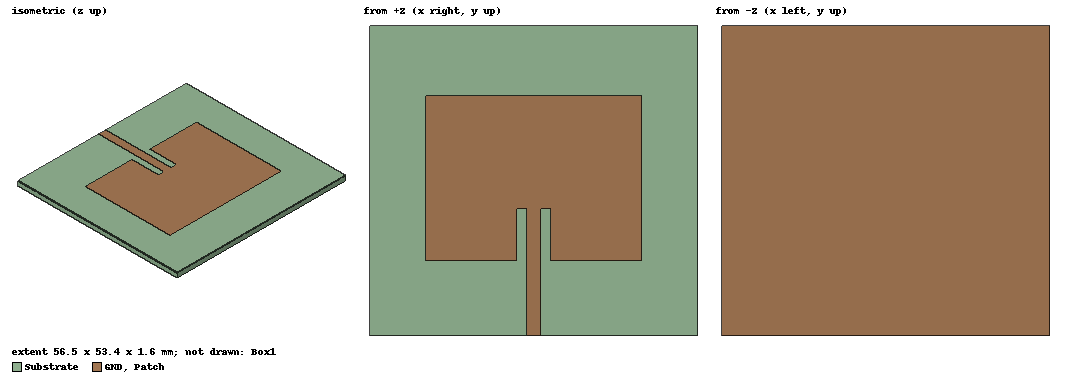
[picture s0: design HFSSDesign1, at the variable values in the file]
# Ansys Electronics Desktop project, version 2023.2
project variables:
  $f = 2.45GHz
  $epsilon_r = 4.4
  $h = 1.6mm
  $Wp = 37.3mm
  $Lp = 28.4mm
  $Wg = $Wp + 12*$h
  $Lg = $Lp + $Lf + $z
  $Wf = 2.4mm
  $g = 1.8mm
  $d = 8.9mm
  $Lf = 13mm
  $z = 12mm
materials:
  vacuum: permittivity=1
  Rogers RO3003 (tm): permittivity=3 dielectric_loss_tangent=0.0013
  Rogers RT/duroid 5880 (tm): permittivity=2.2 dielectric_loss_tangent=0.0009
  air: permittivity=1.0006 permeability=1.0000004
  FR4_epoxy: permittivity=4.4 dielectric_loss_tangent=0.02

design HFSSDesign1 (HFSS, HFSS Terminal Network, model units mm)
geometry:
  GND = rectangle(corner=(-$Wg/2, -$Lg/2, 0mm), x_size=$Wg, y_size=$Lg)
  Substrate [FR4_epoxy] = box(corner=(-$Wg/2, -$Lg/2, 0mm), size=($Wg, $Lg, $h))
  Patch = rectangle(corner=(-$Wp/2, -$Lg/2 +$Lf, $h), x_size=$Wp, y_size=$Lp)
  Left_notch = rectangle(corner=(-$g-$Wf/2, -$Lg/2 + $Lf, $h), x_size=$g, y_size=$d)
  Right_notch = rectangle(corner=($Wf/2, -$Lg/2+$Lf, $h), x_size=$g, y_size=$d)
  Feed = rectangle(corner=(-$Wf/2, -$Lg/2, $h), x_size=$Wf, y_size=$d + $Lf)
  Patch.subtract(Left_notch)
  Patch.subtract(Right_notch)
  Port = rectangle(corner=(-$Wf/2, -$Lg/2, 0mm), z_size=$h, x_size=$Wf)
  Patch.unite(Feed)
  Box1 [air] = box(corner=(-150mm, -150mm, -150mm), size=(300mm, 300mm, 300mm))
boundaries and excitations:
  PerfE1: Perfect E Objects=Patch
  PerfE2: Perfect E Objects=GND
  Rad1: Radiation Objects=Box1
  1: Lumped Port Objects=Port LumpedPortType=Modal Modes{Mode1{IntLine{(0, -26.7, 0) -> (0, -26.7, 1.6)} CharImp=Zpi RenormImp=50ohm}} Impedance=50ohm
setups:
  Setup1: HfssDriven Frequency=2.45GHz MaxDeltaS=0.02 MaximumPasses=20 MinimumPasses=1 MinimumConvergedPasses=1 PercentRefinement=30 BasisOrder=1 PortAccuracy=2 DrivenSolverType="Direct Solver"
    sweep Sweep: 1.5GHz to 3GHz step 0.01GHz; Type=Fast SaveFields
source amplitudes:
  1:1: 1V 0deg
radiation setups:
  Infinite Sphere1: Infinite Sphere Theta=0deg..180deg step 2deg Phi=-180deg..180deg step 2deg
